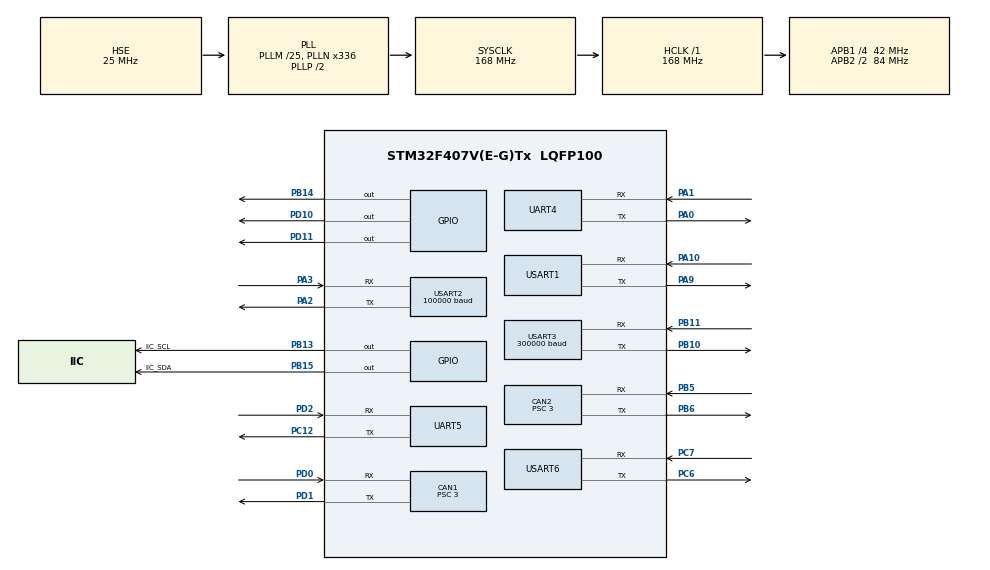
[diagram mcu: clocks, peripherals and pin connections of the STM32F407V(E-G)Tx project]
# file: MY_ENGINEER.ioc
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CAN1.ABOM=ENABLE
CAN1.AWUM=ENABLE
CAN1.BS1=CAN_BS1_9TQ
CAN1.BS2=CAN_BS2_4TQ
CAN1.CalculateBaudRate=1000000
CAN1.CalculateTimeBit=999.99
CAN1.CalculateTimeQuantum=71.42857142857143
CAN1.Prescaler=3
CAN1.TXFP=ENABLE
CAN2.ABOM=ENABLE
CAN2.AWUM=ENABLE
CAN2.BS1=CAN_BS1_9TQ
CAN2.BS2=CAN_BS2_4TQ
CAN2.CalculateBaudRate=1000000
CAN2.CalculateTimeBit=999.99
CAN2.CalculateTimeQuantum=71.42857142857143
CAN2.Prescaler=3
CAN2.TXFP=ENABLE
Dma.Request0=USART1_RX
Dma.Request1=USART2_RX
Dma.Request10=USART1_TX
Dma.Request2=UART4_RX
Dma.Request3=UART4_TX
Dma.Request4=UART5_RX
Dma.Request5=UART5_TX
Dma.Request6=USART3_RX
Dma.Request7=USART3_TX
Dma.Request8=USART6_RX
Dma.Request9=USART6_TX
Dma.UART4_RX.2.Direction=DMA_PERIPH_TO_MEMORY
Dma.UART4_RX.2.FIFOMode=DMA_FIFOMODE_DISABLE
Dma.UART4_RX.2.Instance=DMA1_Stream2
Dma.UART4_RX.2.MemDataAlignment=DMA_MDATAALIGN_BYTE
Dma.UART4_RX.2.MemInc=DMA_MINC_ENABLE
Dma.UART4_RX.2.Mode=DMA_CIRCULAR
Dma.UART4_RX.2.PeriphDataAlignment=DMA_PDATAALIGN_BYTE
Dma.UART4_RX.2.PeriphInc=DMA_PINC_DISABLE
Dma.UART4_RX.2.Priority=DMA_PRIORITY_LOW
Dma.UART4_TX.3.Direction=DMA_MEMORY_TO_PERIPH
Dma.UART4_TX.3.FIFOMode=DMA_FIFOMODE_DISABLE
Dma.UART4_TX.3.Instance=DMA1_Stream4
Dma.UART4_TX.3.MemDataAlignment=DMA_MDATAALIGN_BYTE
Dma.UART4_TX.3.MemInc=DMA_MINC_ENABLE
Dma.UART4_TX.3.Mode=DMA_NORMAL
Dma.UART4_TX.3.PeriphDataAlignment=DMA_PDATAALIGN_BYTE
Dma.UART4_TX.3.PeriphInc=DMA_PINC_DISABLE
Dma.UART4_TX.3.Priority=DMA_PRIORITY_LOW
Dma.UART5_RX.4.Direction=DMA_PERIPH_TO_MEMORY
Dma.UART5_RX.4.FIFOMode=DMA_FIFOMODE_DISABLE
Dma.UART5_RX.4.Instance=DMA1_Stream0
Dma.UART5_RX.4.MemDataAlignment=DMA_MDATAALIGN_BYTE
Dma.UART5_RX.4.MemInc=DMA_MINC_ENABLE
Dma.UART5_RX.4.Mode=DMA_CIRCULAR
Dma.UART5_RX.4.PeriphDataAlignment=DMA_PDATAALIGN_BYTE
Dma.UART5_RX.4.PeriphInc=DMA_PINC_DISABLE
Dma.UART5_RX.4.Priority=DMA_PRIORITY_LOW
Dma.UART5_TX.5.Direction=DMA_MEMORY_TO_PERIPH
Dma.UART5_TX.5.FIFOMode=DMA_FIFOMODE_DISABLE
Dma.UART5_TX.5.Instance=DMA1_Stream7
Dma.UART5_TX.5.MemDataAlignment=DMA_MDATAALIGN_BYTE
Dma.UART5_TX.5.MemInc=DMA_MINC_ENABLE
Dma.UART5_TX.5.Mode=DMA_NORMAL
Dma.UART5_TX.5.PeriphDataAlignment=DMA_PDATAALIGN_BYTE
Dma.UART5_TX.5.PeriphInc=DMA_PINC_DISABLE
Dma.UART5_TX.5.Priority=DMA_PRIORITY_LOW
Dma.USART1_RX.0.Direction=DMA_PERIPH_TO_MEMORY
Dma.USART1_RX.0.FIFOMode=DMA_FIFOMODE_DISABLE
Dma.USART1_RX.0.Instance=DMA2_Stream2
Dma.USART1_RX.0.MemDataAlignment=DMA_MDATAALIGN_BYTE
Dma.USART1_RX.0.MemInc=DMA_MINC_ENABLE
Dma.USART1_RX.0.Mode=DMA_CIRCULAR
Dma.USART1_RX.0.PeriphDataAlignment=DMA_PDATAALIGN_BYTE
Dma.USART1_RX.0.PeriphInc=DMA_PINC_DISABLE
Dma.USART1_RX.0.Priority=DMA_PRIORITY_LOW
Dma.USART1_TX.10.Direction=DMA_MEMORY_TO_PERIPH
Dma.USART1_TX.10.FIFOMode=DMA_FIFOMODE_DISABLE
Dma.USART1_TX.10.Instance=DMA2_Stream7
Dma.USART1_TX.10.MemDataAlignment=DMA_MDATAALIGN_BYTE
Dma.USART1_TX.10.MemInc=DMA_MINC_ENABLE
Dma.USART1_TX.10.Mode=DMA_NORMAL
Dma.USART1_TX.10.PeriphDataAlignment=DMA_PDATAALIGN_BYTE
Dma.USART1_TX.10.PeriphInc=DMA_PINC_DISABLE
Dma.USART1_TX.10.Priority=DMA_PRIORITY_LOW
Dma.USART2_RX.1.Direction=DMA_PERIPH_TO_MEMORY
Dma.USART2_RX.1.FIFOMode=DMA_FIFOMODE_DISABLE
Dma.USART2_RX.1.Instance=DMA1_Stream5
Dma.USART2_RX.1.MemDataAlignment=DMA_MDATAALIGN_BYTE
Dma.USART2_RX.1.MemInc=DMA_MINC_ENABLE
Dma.USART2_RX.1.Mode=DMA_CIRCULAR
Dma.USART2_RX.1.PeriphDataAlignment=DMA_PDATAALIGN_BYTE
Dma.USART2_RX.1.PeriphInc=DMA_PINC_DISABLE
Dma.USART2_RX.1.Priority=DMA_PRIORITY_LOW
Dma.USART3_RX.6.Direction=DMA_PERIPH_TO_MEMORY
Dma.USART3_RX.6.FIFOMode=DMA_FIFOMODE_DISABLE
Dma.USART3_RX.6.Instance=DMA1_Stream1
Dma.USART3_RX.6.MemDataAlignment=DMA_MDATAALIGN_BYTE
Dma.USART3_RX.6.MemInc=DMA_MINC_ENABLE
Dma.USART3_RX.6.Mode=DMA_CIRCULAR
Dma.USART3_RX.6.PeriphDataAlignment=DMA_PDATAALIGN_BYTE
Dma.USART3_RX.6.PeriphInc=DMA_PINC_DISABLE
Dma.USART3_RX.6.Priority=DMA_PRIORITY_LOW
Dma.USART3_TX.7.Direction=DMA_MEMORY_TO_PERIPH
Dma.USART3_TX.7.FIFOMode=DMA_FIFOMODE_DISABLE
Dma.USART3_TX.7.Instance=DMA1_Stream3
Dma.USART3_TX.7.MemDataAlignment=DMA_MDATAALIGN_BYTE
Dma.USART3_TX.7.MemInc=DMA_MINC_ENABLE
Dma.USART3_TX.7.Mode=DMA_NORMAL
Dma.USART3_TX.7.PeriphDataAlignment=DMA_PDATAALIGN_BYTE
Dma.USART3_TX.7.PeriphInc=DMA_PINC_DISABLE
Dma.USART3_TX.7.Priority=DMA_PRIORITY_LOW
Dma.USART6_RX.8.Direction=DMA_PERIPH_TO_MEMORY
Dma.USART6_RX.8.FIFOMode=DMA_FIFOMODE_DISABLE
Dma.USART6_RX.8.Instance=DMA2_Stream1
Dma.USART6_RX.8.MemDataAlignment=DMA_MDATAALIGN_BYTE
Dma.USART6_RX.8.MemInc=DMA_MINC_ENABLE
Dma.USART6_RX.8.Mode=DMA_CIRCULAR
Dma.USART6_RX.8.PeriphDataAlignment=DMA_PDATAALIGN_BYTE
Dma.USART6_RX.8.PeriphInc=DMA_PINC_DISABLE
Dma.USART6_RX.8.Priority=DMA_PRIORITY_LOW
Dma.USART6_TX.9.Direction=DMA_MEMORY_TO_PERIPH
Dma.USART6_TX.9.FIFOMode=DMA_FIFOMODE_DISABLE
Dma.USART6_TX.9.Instance=DMA2_Stream6
Dma.USART6_TX.9.MemDataAlignment=DMA_MDATAALIGN_BYTE
Dma.USART6_TX.9.MemInc=DMA_MINC_ENABLE
Dma.USART6_TX.9.Mode=DMA_NORMAL
Dma.USART6_TX.9.PeriphDataAlignment=DMA_PDATAALIGN_BYTE
Dma.USART6_TX.9.PeriphInc=DMA_PINC_DISABLE
Dma.USART6_TX.9.Priority=DMA_PRIORITY_LOW
FREERTOS.Tasks01=defaultTask,0,128,StartDefaultTask,Default,NULL,Dynamic,NULL,NULL;ControlTask,1,1024,StartControlTask,As weak,NULL,Dynamic,NULL,NULL;HeartBeatTask,1,256,StartHeartBeatTask,As weak,NULL,Dynamic,NULL,NULL;RealTimeTask,2,1024,StartRealTimeTask,As weak,NULL,Dynamic,NULL,NULL
Mcu.Family=STM32F4
Mcu.Name=STM32F407V(E-G)Tx
Mcu.Package=LQFP100
NVIC.CAN1_RX0_IRQn=true\:5\:0\:false\:false\:true\:true\:true\:true
NVIC.CAN2_RX0_IRQn=true\:5\:0\:false\:false\:true\:true\:true\:true
NVIC.DMA1_Stream0_IRQn=true\:5\:0\:false\:false\:true\:true\:false\:true
NVIC.DMA1_Stream1_IRQn=true\:5\:0\:false\:false\:true\:true\:false\:true
NVIC.DMA1_Stream2_IRQn=true\:5\:0\:false\:false\:true\:true\:false\:true
NVIC.DMA1_Stream3_IRQn=true\:5\:0\:false\:false\:true\:true\:false\:true
NVIC.DMA1_Stream4_IRQn=true\:5\:0\:false\:false\:true\:true\:false\:true
NVIC.DMA1_Stream5_IRQn=true\:5\:0\:false\:false\:true\:true\:false\:true
NVIC.DMA1_Stream7_IRQn=true\:5\:0\:false\:false\:true\:true\:false\:true
NVIC.DMA2_Stream1_IRQn=true\:5\:0\:false\:false\:true\:true\:false\:true
NVIC.DMA2_Stream2_IRQn=true\:5\:0\:false\:false\:true\:true\:false\:true
NVIC.DMA2_Stream6_IRQn=true\:5\:0\:false\:false\:true\:true\:false\:true
NVIC.DMA2_Stream7_IRQn=true\:5\:0\:false\:false\:true\:true\:false\:true
NVIC.PriorityGroup=NVIC_PRIORITYGROUP_4
NVIC.TIM2_IRQn=true\:15\:0\:false\:false\:true\:false\:false\:true
NVIC.TimeBase=TIM2_IRQn
NVIC.TimeBaseIP=TIM2
NVIC.UART4_IRQn=true\:5\:0\:false\:false\:true\:true\:true\:true
NVIC.UART5_IRQn=true\:5\:0\:false\:false\:true\:true\:true\:true
NVIC.USART1_IRQn=true\:5\:0\:false\:false\:true\:true\:true\:true
NVIC.USART2_IRQn=true\:5\:0\:false\:false\:true\:true\:true\:true
NVIC.USART3_IRQn=true\:5\:0\:false\:false\:true\:true\:true\:true
NVIC.USART6_IRQn=true\:5\:0\:false\:false\:true\:true\:true\:true
PA0-WKUP.Mode=Asynchronous
PA0-WKUP.Signal=UART4_TX
PA1.Mode=Asynchronous
PA1.Signal=UART4_RX
PA10.Mode=Asynchronous
PA10.Signal=USART1_RX
PA13.Mode=Serial_Wire
PA13.Signal=SYS_JTMS-SWDIO
PA14.Mode=Serial_Wire
PA14.Signal=SYS_JTCK-SWCLK
PA2.Mode=Asynchronous
PA2.Signal=USART2_TX
PA3.Mode=Asynchronous
PA3.Signal=USART2_RX
PA9.Mode=Asynchronous
PA9.Signal=USART1_TX
PB10.Mode=Asynchronous
PB10.Signal=USART3_TX
PB11.Mode=Asynchronous
PB11.Signal=USART3_RX
PB13.GPIO_Label=IIC_SCL
PB13.GPIO_Speed=GPIO_SPEED_FREQ_VERY_HIGH
PB13.Signal=GPIO_Output
PB14.Signal=GPIO_Output
PB15.GPIO_Label=IIC_SDA
PB15.GPIO_Speed=GPIO_SPEED_FREQ_VERY_HIGH
PB15.Signal=GPIO_Output
PB5.Mode=CAN_Activate
PB5.Signal=CAN2_RX
PB6.Mode=CAN_Activate
PB6.Signal=CAN2_TX
PC12.Mode=Asynchronous
PC12.Signal=UART5_TX
PC6.Mode=Asynchronous
PC6.Signal=USART6_TX
PC7.Mode=Asynchronous
PC7.Signal=USART6_RX
PD0.Mode=CAN_Activate
PD0.Signal=CAN1_RX
PD1.Mode=CAN_Activate
PD1.Signal=CAN1_TX
PD10.PinState=GPIO_PIN_RESET
PD10.Signal=GPIO_Output
PD11.PinState=GPIO_PIN_RESET
PD11.Signal=GPIO_Output
PD2.Mode=Asynchronous
PD2.Signal=UART5_RX
PH0-OSC_IN.Mode=HSE-External-Oscillator
PH0-OSC_IN.Signal=RCC_OSC_IN
PH1-OSC_OUT.Mode=HSE-External-Oscillator
PH1-OSC_OUT.Signal=RCC_OSC_OUT
ProjectManager.HeapSize=0x200
ProjectManager.StackSize=0x400
ProjectManager.TargetToolchain=MDK-ARM V5.27
RCC.48MHZClocksFreq_Value=84000000
RCC.AHBFreq_Value=168000000
RCC.APB1CLKDivider=RCC_HCLK_DIV4
RCC.APB1Freq_Value=42000000
RCC.APB1TimFreq_Value=84000000
RCC.APB2CLKDivider=RCC_HCLK_DIV2
RCC.APB2Freq_Value=84000000
RCC.APB2TimFreq_Value=168000000
RCC.CortexFreq_Value=168000000
RCC.HCLKFreq_Value=168000000
RCC.HSE_VALUE=25000000
RCC.HSI_VALUE=16000000
RCC.LSE_VALUE=32768
RCC.PLLM=25
RCC.PLLN=336
RCC.PLLSourceVirtual=RCC_PLLSOURCE_HSE
RCC.SYSCLKFreq_VALUE=168000000
RCC.SYSCLKSource=RCC_SYSCLKSOURCE_PLLCLK
RCC.VCOOutputFreq_Value=336000000
UART4.VirtualMode=Asynchronous
UART5.VirtualMode=Asynchronous
USART1.VirtualMode=VM_ASYNC
USART2.BaudRate=100000
USART2.VirtualMode=VM_ASYNC
USART3.BaudRate=300000
USART3.VirtualMode=VM_ASYNC
USART6.VirtualMode=VM_ASYNC
VP_FREERTOS_VS_CMSIS_V1.Mode=CMSIS_V1
VP_IWDG_VS_IWDG.Mode=IWDG_Activate
VP_SYS_VS_tim2.Mode=TIM2
board=custom

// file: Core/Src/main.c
/* USER CODE BEGIN Header */
/**
  ******************************************************************************
  * @file           : main.c
  * @brief          : Main program body
  ******************************************************************************
  * @attention
  *
  * <h2><center>&copy; Copyright (c) 2022 STMicroelectronics.
  * All rights reserved.</center></h2>
  *
  * This software component is licensed by ST under Ultimate Liberty license
  * SLA0044, the "License"; You may not use this file except in compliance with
  * the License. You may obtain a copy of the License at:
  *                             www.st.com/SLA0044
  *
  ******************************************************************************
  */
/* USER CODE END Header */
#include "main.h"
#include "cmsis_os.h"
#include "can.h"
#include "dma.h"
#include "iwdg.h"
#include "usart.h"
#include "gpio.h"

/* USER CODE BEGIN Includes */
#include "drv_can.h"
#include "drv_uart.h"
#include "bmi2_defs.h"
#include "bmi.h"
#include "device.h"
#include "chassis.h"
/* USER CODE END Includes */

void SystemClock_Config(void);
void MX_FREERTOS_Init(void);
/* USER CODE BEGIN PFP */
int16_t rs = 0;
/* USER CODE END PFP */

/* USER CODE BEGIN 0 */
uint8_t imu_rslt;
float rslt_time = 0;
/* USER CODE END 0 */

int main(void)
{

  /* MCU Configuration--------------------------------------------------------*/

  /* Reset of all peripherals, Initializes the Flash interface and the Systick. */
  HAL_Init();

  /* Configure the system clock */
  SystemClock_Config();

  /* USER CODE BEGIN SysInit */
//	HAL_GPIO_WritePin(GPIOB,GPIO_PIN_14,GPIO_PIN_RESET);
//	HAL_Delay(500);
//	imu_rslt = BMI_Init();
//	while(imu_rslt!=BMI2_OK)
//	{
//		imu_rslt = BMI_Init();
//		rslt_time ++;
//		if(rslt_time>5000)
//		{
//			chassis.work_info.chassis_imu_init_flag = 0;
//			break;
//		}
//		else
//			chassis.work_info.chassis_imu_init_flag = 1;
//	}
  /* USER CODE END SysInit */

  /* Initialize all configured peripherals */
  MX_GPIO_Init();
	HAL_GPIO_WritePin(GPIOB,GPIO_PIN_14,GPIO_PIN_RESET);
	HAL_Delay(500);
	imu_rslt = BMI_Init();
	while(imu_rslt!=BMI2_OK)
	{
		imu_rslt = BMI_Init();
		rslt_time ++;
		if(rslt_time>5000)
		{
			chassis.work_info.chassis_imu_init_flag = 0;
			break;
		}
		else
			chassis.work_info.chassis_imu_init_flag = 1;
	}
  MX_DMA_Init();
  MX_CAN1_Init();
  MX_CAN2_Init();
  MX_USART1_UART_Init();
  MX_USART2_UART_Init();
  MX_UART4_Init();
  MX_USART3_UART_Init();
  MX_UART5_Init();
  MX_USART6_UART_Init();
//  MX_IWDG_Init();
  /* USER CODE BEGIN 2 */
	device_init();
	USART1_Init();
	USART2_Init();
	USART3_Init();
	CAN1_Init();
	CAN2_Init();
//  MX_IWDG_Init();
  /* USER CODE END 2 */

  /* Call init function for freertos objects (in freertos.c) */
  MX_FREERTOS_Init();
  /* Start scheduler */
  osKernelStart();

  /* We should never get here as control is now taken by the scheduler */
  /* Infinite loop */
  while (1)
  {

  }
}

void SystemClock_Config(void)
{
  RCC_OscInitTypeDef RCC_OscInitStruct = {0};
  RCC_ClkInitTypeDef RCC_ClkInitStruct = {0};

  /** Configure the main internal regulator output voltage
  */
  __HAL_RCC_PWR_CLK_ENABLE();
  __HAL_PWR_VOLTAGESCALING_CONFIG(PWR_REGULATOR_VOLTAGE_SCALE1);
  /** Initializes the RCC Oscillators according to the specified parameters
  * in the RCC_OscInitTypeDef structure.
  */
  RCC_OscInitStruct.OscillatorType = RCC_OSCILLATORTYPE_LSI|RCC_OSCILLATORTYPE_HSE;
  RCC_OscInitStruct.HSEState = RCC_HSE_ON;
  RCC_OscInitStruct.LSIState = RCC_LSI_ON;
  RCC_OscInitStruct.PLL.PLLState = RCC_PLL_ON;
  RCC_OscInitStruct.PLL.PLLSource = RCC_PLLSOURCE_HSE;
  RCC_OscInitStruct.PLL.PLLM = 25;
  RCC_OscInitStruct.PLL.PLLN = 336;
  RCC_OscInitStruct.PLL.PLLP = RCC_PLLP_DIV2;
  RCC_OscInitStruct.PLL.PLLQ = 4;
  if (HAL_RCC_OscConfig(&RCC_OscInitStruct) != HAL_OK)
  {
    Error_Handler();
  }
  /** Initializes the CPU, AHB and APB buses clocks
  */
  RCC_ClkInitStruct.ClockType = RCC_CLOCKTYPE_HCLK|RCC_CLOCKTYPE_SYSCLK
                              |RCC_CLOCKTYPE_PCLK1|RCC_CLOCKTYPE_PCLK2;
  RCC_ClkInitStruct.SYSCLKSource = RCC_SYSCLKSOURCE_PLLCLK;
  RCC_ClkInitStruct.AHBCLKDivider = RCC_SYSCLK_DIV1;
  RCC_ClkInitStruct.APB1CLKDivider = RCC_HCLK_DIV4;
  RCC_ClkInitStruct.APB2CLKDivider = RCC_HCLK_DIV2;

  if (HAL_RCC_ClockConfig(&RCC_ClkInitStruct, FLASH_LATENCY_5) != HAL_OK)
  {
    Error_Handler();
  }
}

void HAL_TIM_PeriodElapsedCallback(TIM_HandleTypeDef *htim)
{
  if (htim->Instance == TIM2) {
    HAL_IncTick();
  }
}

void Error_Handler(void)
{
  __disable_irq();
  while (1)
  {
  }
}

/************************ (C) COPYRIGHT STMicroelectronics *****END OF FILE****/

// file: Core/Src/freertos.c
/* USER CODE BEGIN Header */
/**
  ******************************************************************************
  * File Name          : freertos.c
  * Description        : Code for freertos applications
  ******************************************************************************
  * @attention
  *
  * <h2><center>&copy; Copyright (c) 2022 STMicroelectronics.
  * All rights reserved.</center></h2>
  *
  * This software component is licensed by ST under Ultimate Liberty license
  * SLA0044, the "License"; You may not use this file except in compliance with
  * the License. You may obtain a copy of the License at:
  *                             www.st.com/SLA0044
  *
  ******************************************************************************
  */
/* USER CODE END Header */

#include "FreeRTOS.h"
#include "task.h"
#include "main.h"
#include "cmsis_os.h"

osThreadId defaultTaskHandle;
osThreadId ControlTaskHandle;
osThreadId HeartBeatTaskHandle;
osThreadId RealTimeTaskHandle;

void StartDefaultTask(void const * argument);
void StartControlTask(void const * argument);
void StartHeartBeatTask(void const * argument);
void StartRealTimeTask(void const * argument);

void MX_FREERTOS_Init(void); /* (MISRA C 2004 rule 8.1) */

/* GetIdleTaskMemory prototype (linked to static allocation support) */
void vApplicationGetIdleTaskMemory( StaticTask_t **ppxIdleTaskTCBBuffer, StackType_t **ppxIdleTaskStackBuffer, uint32_t *pulIdleTaskStackSize );

/* USER CODE BEGIN GET_IDLE_TASK_MEMORY */
static StaticTask_t xIdleTaskTCBBuffer;
static StackType_t xIdleStack[configMINIMAL_STACK_SIZE];

void vApplicationGetIdleTaskMemory( StaticTask_t **ppxIdleTaskTCBBuffer, StackType_t **ppxIdleTaskStackBuffer, uint32_t *pulIdleTaskStackSize )
{
  *ppxIdleTaskTCBBuffer = &xIdleTaskTCBBuffer;
  *ppxIdleTaskStackBuffer = &xIdleStack[0];
  *pulIdleTaskStackSize = configMINIMAL_STACK_SIZE;
  /* place for user code */
}
/* USER CODE END GET_IDLE_TASK_MEMORY */

void MX_FREERTOS_Init(void) {

  /* Create the thread(s) */
  /* definition and creation of defaultTask */
  osThreadDef(defaultTask, StartDefaultTask, osPriorityNormal, 0, 128);
  defaultTaskHandle = osThreadCreate(osThread(defaultTask), NULL);

  /* definition and creation of ControlTask */
  osThreadDef(ControlTask, StartControlTask, osPriorityIdle, 0, 128);
  ControlTaskHandle = osThreadCreate(osThread(ControlTask), NULL);

  /* definition and creation of HeartBeatTask */
  osThreadDef(HeartBeatTask, StartHeartBeatTask, osPriorityIdle, 0, 128);
  HeartBeatTaskHandle = osThreadCreate(osThread(HeartBeatTask), NULL);

  /* definition and creation of RealTimeTask */
  osThreadDef(RealTimeTask, StartRealTimeTask, osPriorityIdle, 0, 128);
  RealTimeTaskHandle = osThreadCreate(osThread(RealTimeTask), NULL);

}

void StartDefaultTask(void const * argument)
{
  for(;;)
  {
    osDelay(1);
  }
}

__weak void StartControlTask(void const * argument)
{
  for(;;)
  {
    osDelay(1);
  }
}

__weak void StartHeartBeatTask(void const * argument)
{
  for(;;)
  {
    osDelay(1);
  }
}

__weak void StartRealTimeTask(void const * argument)
{
  for(;;)
  {
    osDelay(1);
  }
}

/************************ (C) COPYRIGHT STMicroelectronics *****END OF FILE****/
